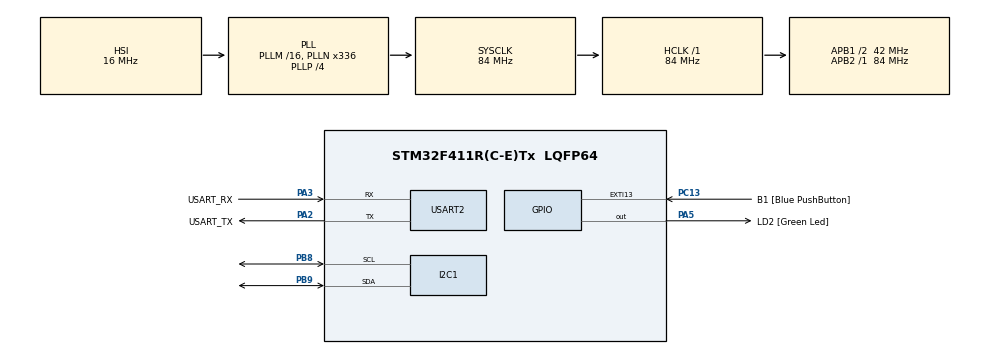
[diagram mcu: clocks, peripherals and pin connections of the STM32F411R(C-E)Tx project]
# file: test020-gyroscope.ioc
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Mcu.Family=STM32F4
Mcu.Name=STM32F411R(C-E)Tx
Mcu.Package=LQFP64
NVIC.PriorityGroup=NVIC_PRIORITYGROUP_0
PA13.GPIO_Label=TMS
PA13.Mode=Serial_Wire
PA13.Signal=SYS_JTMS-SWDIO
PA14.GPIO_Label=TCK
PA14.Mode=Serial_Wire
PA14.Signal=SYS_JTCK-SWCLK
PA2.GPIO_Label=USART_TX
PA2.Mode=Asynchronous
PA2.Signal=USART2_TX
PA3.GPIO_Label=USART_RX
PA3.Mode=Asynchronous
PA3.Signal=USART2_RX
PA5.GPIO_Label=LD2 [Green Led]
PA5.Signal=GPIO_Output
PB3.GPIO_Label=SWO
PB3.Signal=SYS_JTDO-SWO
PB8.Mode=I2C
PB8.Signal=I2C1_SCL
PB9.Mode=I2C
PB9.Signal=I2C1_SDA
PC13-ANTI_TAMP.GPIO_Label=B1 [Blue PushButton]
PC13-ANTI_TAMP.GPIO_ModeDefaultEXTI=GPIO_MODE_IT_FALLING
PC13-ANTI_TAMP.Signal=GPXTI13
PC14-OSC32_IN.Mode=LSE-External-Oscillator
PC14-OSC32_IN.Signal=RCC_OSC32_IN
PC15-OSC32_OUT.Mode=LSE-External-Oscillator
PC15-OSC32_OUT.Signal=RCC_OSC32_OUT
PH0\ -\ OSC_IN.Mode=HSE-External-Clock-Source
PH0\ -\ OSC_IN.Signal=RCC_OSC_IN
PH1\ -\ OSC_OUT.Mode=HSE-External-Clock-Source
PH1\ -\ OSC_OUT.Signal=RCC_OSC_OUT
ProjectManager.HeapSize=0x200
ProjectManager.StackSize=0x400
ProjectManager.TargetToolchain=STM32CubeIDE
RCC.48MHZClocksFreq_Value=84000000
RCC.AHBFreq_Value=84000000
RCC.APB1CLKDivider=RCC_HCLK_DIV2
RCC.APB1Freq_Value=42000000
RCC.APB1TimFreq_Value=84000000
RCC.APB2Freq_Value=84000000
RCC.APB2TimFreq_Value=84000000
RCC.CortexFreq_Value=84000000
RCC.FLatency-AdvancedSettings=FLASH_LATENCY_2
RCC.HCLKFreq_Value=84000000
RCC.HSE_VALUE=8000000
RCC.HSI_VALUE=16000000
RCC.PLLN=336
RCC.PLLP=RCC_PLLP_DIV4
RCC.SYSCLKFreq_VALUE=84000000
RCC.SYSCLKSource=RCC_SYSCLKSOURCE_PLLCLK
RCC.VCOOutputFreq_Value=336000000
USART2.VirtualMode=VM_ASYNC
board=NUCLEO-F411RE

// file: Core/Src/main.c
/* USER CODE BEGIN Header */
/**
  ******************************************************************************
  * @file           : main.c
  * @brief          : Main program body
  ******************************************************************************
  * @attention
  *
  * Copyright (c) 2025 STMicroelectronics.
  * All rights reserved.
  *
  * This software is licensed under terms that can be found in the LICENSE file
  * in the root directory of this software component.
  * If no LICENSE file comes with this software, it is provided AS-IS.
  *
  ******************************************************************************
  */
/* USER CODE END Header */
#include "main.h"

I2C_HandleTypeDef hi2c1;

UART_HandleTypeDef huart2;

void SystemClock_Config(void);
static void MX_GPIO_Init(void);
static void MX_USART2_UART_Init(void);
static void MX_I2C1_Init(void);

int main(void)
{

  /* MCU Configuration--------------------------------------------------------*/

  /* Reset of all peripherals, Initializes the Flash interface and the Systick. */
  HAL_Init();

  /* Configure the system clock */
  SystemClock_Config();

  /* Initialize all configured peripherals */
  MX_GPIO_Init();
  MX_USART2_UART_Init();
  MX_I2C1_Init();
  /* USER CODE BEGIN 2 */

  uint16_t GY6500 = 0xD0;		// Gyroscope Module Address
  unsigned char whoami;
  uint16_t LCD1602 = 0x4E;		// LCD Address
  ProgramStart("Gyroscope Test");
  i2c_init(&hi2c1);
  i2c_scan();
  HAL_I2C_Mem_Read(&hi2c1, GY6500, 0x75, 1 /*byte*/, &whoami, 1/*byte*/, 1000 /*ms*/);
  printf("GY-6500 (WHO AM I) info : %02x \r\n", whoami);
  HAL_I2C_Mem_Read(&hi2c1, LCD1602, 0x75, 1 /*byte*/, &whoami, 1/*byte*/, 1000 /*ms*/);
    printf("LCD1602 (WHO AM I) info : %02x \r\n", whoami);

    // MPU-6500 initial config
    unsigned char Data;
    Data = 0;	// PWR_MGMT_1 = 0 : 0x6B
    HAL_I2C_Mem_Write(&hi2c1, GY6500, 0x6B /* power */, 1, &Data, 1, 1000);
    Data = 7;	// SMPLERT_DIV_1 = 7 : 0x19, 1 kHz Sampling rate
	HAL_I2C_Mem_Write(&hi2c1, GY6500, 0x19 /* power */, 1, &Data, 1, 1000);
	Data = 0;	// CONFIG (0x1A) = 0
	HAL_I2C_Mem_Write(&hi2c1, GY6500, 0x1A /* power */, 1, &Data, 1, 1000);
	Data = 0x18;	// GYRO_CONFIG (0x1B) = 0x18
	HAL_I2C_Mem_Write(&hi2c1, GY6500, 0x1B /* power */, 1, &Data, 1, 1000);
	Data = 0;	// ACCEL_CONFIG (0x1C) = 0
	HAL_I2C_Mem_Write(&hi2c1, GY6500, 0x1C /* power */, 1, &Data, 1, 1000);

	// LCD Set
    lcd_init();

    unsigned char str1[16];
    unsigned char str2[16];

  /* USER CODE END 2 */

  /* Infinite loop */
  /* USER CODE BEGIN WHILE */

    unsigned char acc[6];
	unsigned char gyro[6];
  while (1)
  {
	  // ACCEL Data Read : 0x3B  XH-XL-YH-YL-ZH-ZL
	  HAL_I2C_Mem_Read(&hi2c1, GY6500, 0x3B, 1, acc, 6, 1000);	// Accelerator

	  short acc_x = (short)(acc[0] << 8) + acc[1];
	  short acc_y = (short)(acc[2] << 8) + acc[3];
	  short acc_z = (short)(acc[4] << 8) + acc[5];

	  double aX = acc_x / 16384;	// g Value
	  double aY = acc_y / 16384;	// g Value
	  double aZ = acc_z / 16384;	// g Value

	  printf("aX : %2.1f, aY : %2.1f, aZ : %2.1f\r\n", aX, aY, aZ);

	  // GYRO Data Read : 0x43  XH-XL-YH-YL-ZH-ZL
	  HAL_I2C_Mem_Read(&hi2c1, GY6500, 0x43, 1, gyro, 6, 1000);	// gyroscope
	  short gyro_x = (short)(gyro[0] << 8) + gyro[1];
	  short gyro_y = (short)(gyro[2] << 8) + gyro[3];
	  short gyro_z = (short)(gyro[4] << 8) + gyro[5];

	  double gX = gyro_x / 131;	// dps (degree per second) Value
	  double gY = gyro_y / 131;	// dps Value
	  double gZ = gyro_z / 131;	// dps Value

	  printf("gX : %2.1f, gY : %2.1f, gZ : %2.1f\r\n", gX, gY, gZ);

	  printf("=================================\r\n");

//	  HAL_Delay(100);

	  sprintf(str1, "A X:%.0f Y:%.0f Z:%.0f", aX, aY, aZ);
	  sprintf(str2, "G X:%.0f Y:%.0f Z:%.0f", gX, gY, gZ);

	  lcd_printEx("                ",0);
	  HAL_Delay(1);
	  lcd_printEx(str1,0);
	  HAL_Delay(100);
	  lcd_printEx("                ",1);
	  HAL_Delay(1);
	  lcd_printEx(str2,1);
	  HAL_Delay(100);

    /* USER CODE END WHILE */

  }
}

void SystemClock_Config(void)
{
  RCC_OscInitTypeDef RCC_OscInitStruct = {0};
  RCC_ClkInitTypeDef RCC_ClkInitStruct = {0};

  /** Configure the main internal regulator output voltage
  */
  __HAL_RCC_PWR_CLK_ENABLE();
  __HAL_PWR_VOLTAGESCALING_CONFIG(PWR_REGULATOR_VOLTAGE_SCALE1);

  /** Initializes the RCC Oscillators according to the specified parameters
  * in the RCC_OscInitTypeDef structure.
  */
  RCC_OscInitStruct.OscillatorType = RCC_OSCILLATORTYPE_HSI;
  RCC_OscInitStruct.HSIState = RCC_HSI_ON;
  RCC_OscInitStruct.HSICalibrationValue = RCC_HSICALIBRATION_DEFAULT;
  RCC_OscInitStruct.PLL.PLLState = RCC_PLL_ON;
  RCC_OscInitStruct.PLL.PLLSource = RCC_PLLSOURCE_HSI;
  RCC_OscInitStruct.PLL.PLLM = 16;
  RCC_OscInitStruct.PLL.PLLN = 336;
  RCC_OscInitStruct.PLL.PLLP = RCC_PLLP_DIV4;
  RCC_OscInitStruct.PLL.PLLQ = 4;
  if (HAL_RCC_OscConfig(&RCC_OscInitStruct) != HAL_OK)
  {
    Error_Handler();
  }

  /** Initializes the CPU, AHB and APB buses clocks
  */
  RCC_ClkInitStruct.ClockType = RCC_CLOCKTYPE_HCLK|RCC_CLOCKTYPE_SYSCLK
                              |RCC_CLOCKTYPE_PCLK1|RCC_CLOCKTYPE_PCLK2;
  RCC_ClkInitStruct.SYSCLKSource = RCC_SYSCLKSOURCE_PLLCLK;
  RCC_ClkInitStruct.AHBCLKDivider = RCC_SYSCLK_DIV1;
  RCC_ClkInitStruct.APB1CLKDivider = RCC_HCLK_DIV2;
  RCC_ClkInitStruct.APB2CLKDivider = RCC_HCLK_DIV1;

  if (HAL_RCC_ClockConfig(&RCC_ClkInitStruct, FLASH_LATENCY_2) != HAL_OK)
  {
    Error_Handler();
  }
}

static void MX_I2C1_Init(void)
{

  hi2c1.Instance = I2C1;
  hi2c1.Init.ClockSpeed = 100000;
  hi2c1.Init.DutyCycle = I2C_DUTYCYCLE_2;
  hi2c1.Init.OwnAddress1 = 0;
  hi2c1.Init.AddressingMode = I2C_ADDRESSINGMODE_7BIT;
  hi2c1.Init.DualAddressMode = I2C_DUALADDRESS_DISABLE;
  hi2c1.Init.OwnAddress2 = 0;
  hi2c1.Init.GeneralCallMode = I2C_GENERALCALL_DISABLE;
  hi2c1.Init.NoStretchMode = I2C_NOSTRETCH_DISABLE;
  if (HAL_I2C_Init(&hi2c1) != HAL_OK)
  {
    Error_Handler();
  }

}

static void MX_USART2_UART_Init(void)
{

  huart2.Instance = USART2;
  huart2.Init.BaudRate = 115200;
  huart2.Init.WordLength = UART_WORDLENGTH_8B;
  huart2.Init.StopBits = UART_STOPBITS_1;
  huart2.Init.Parity = UART_PARITY_NONE;
  huart2.Init.Mode = UART_MODE_TX_RX;
  huart2.Init.HwFlowCtl = UART_HWCONTROL_NONE;
  huart2.Init.OverSampling = UART_OVERSAMPLING_16;
  if (HAL_UART_Init(&huart2) != HAL_OK)
  {
    Error_Handler();
  }

}

static void MX_GPIO_Init(void)
{
  GPIO_InitTypeDef GPIO_InitStruct = {0};

  /* GPIO Ports Clock Enable */
  __HAL_RCC_GPIOC_CLK_ENABLE();
  __HAL_RCC_GPIOH_CLK_ENABLE();
  __HAL_RCC_GPIOA_CLK_ENABLE();
  __HAL_RCC_GPIOB_CLK_ENABLE();

  /*Configure GPIO pin Output Level */
  HAL_GPIO_WritePin(LD2_GPIO_Port, LD2_Pin, GPIO_PIN_RESET);

  /*Configure GPIO pin : B1_Pin */
  GPIO_InitStruct.Pin = B1_Pin;
  GPIO_InitStruct.Mode = GPIO_MODE_IT_FALLING;
  GPIO_InitStruct.Pull = GPIO_NOPULL;
  HAL_GPIO_Init(B1_GPIO_Port, &GPIO_InitStruct);

  /*Configure GPIO pin : LD2_Pin */
  GPIO_InitStruct.Pin = LD2_Pin;
  GPIO_InitStruct.Mode = GPIO_MODE_OUTPUT_PP;
  GPIO_InitStruct.Pull = GPIO_NOPULL;
  GPIO_InitStruct.Speed = GPIO_SPEED_FREQ_LOW;
  HAL_GPIO_Init(LD2_GPIO_Port, &GPIO_InitStruct);

}

void Error_Handler(void)
{
  __disable_irq();
  while (1)
  {
  }
}
